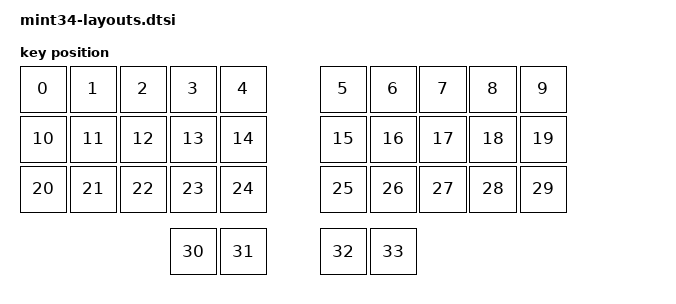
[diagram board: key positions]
// Mint34 Physical Layout
// 34 key split: 5 cols x 3 rows + 2 thumbs per side
// Units are in centimicrons (100 = 1u)
// See https://zmk.dev/docs/development/hardware-integration/physical-layouts

#include <physical_layouts.dtsi>

/ {
    default_layout: default_layout {
        compatible = "zmk,physical-layout";
        display-name = "Default Layout";
        transform = <&default_transform>;
        kscan = <&kscan0>;

        keys  //                     w    h     x     y    rot   rx    ry
            /* Row 0 - Left */
            = <&key_physical_attrs 100  100     0     0      0    0     0>  /* Q */
            , <&key_physical_attrs 100  100   100     0      0    0     0>  /* W */
            , <&key_physical_attrs 100  100   200     0      0    0     0>  /* E */
            , <&key_physical_attrs 100  100   300     0      0    0     0>  /* R */
            , <&key_physical_attrs 100  100   400     0      0    0     0>  /* T */
            /* Row 0 - Right */
            , <&key_physical_attrs 100  100   600     0      0    0     0>  /* Y */
            , <&key_physical_attrs 100  100   700     0      0    0     0>  /* U */
            , <&key_physical_attrs 100  100   800     0      0    0     0>  /* I */
            , <&key_physical_attrs 100  100   900     0      0    0     0>  /* O */
            , <&key_physical_attrs 100  100  1000     0      0    0     0>  /* P */
            /* Row 1 - Left */
            , <&key_physical_attrs 100  100     0   100      0    0     0>  /* A */
            , <&key_physical_attrs 100  100   100   100      0    0     0>  /* S */
            , <&key_physical_attrs 100  100   200   100      0    0     0>  /* D */
            , <&key_physical_attrs 100  100   300   100      0    0     0>  /* F */
            , <&key_physical_attrs 100  100   400   100      0    0     0>  /* G */
            /* Row 1 - Right */
            , <&key_physical_attrs 100  100   600   100      0    0     0>  /* H */
            , <&key_physical_attrs 100  100   700   100      0    0     0>  /* J */
            , <&key_physical_attrs 100  100   800   100      0    0     0>  /* K */
            , <&key_physical_attrs 100  100   900   100      0    0     0>  /* L */
            , <&key_physical_attrs 100  100  1000   100      0    0     0>  /* ; */
            /* Row 2 - Left */
            , <&key_physical_attrs 100  100     0   200      0    0     0>  /* Z */
            , <&key_physical_attrs 100  100   100   200      0    0     0>  /* X */
            , <&key_physical_attrs 100  100   200   200      0    0     0>  /* C */
            , <&key_physical_attrs 100  100   300   200      0    0     0>  /* V */
            , <&key_physical_attrs 100  100   400   200      0    0     0>  /* B */
            /* Row 2 - Right */
            , <&key_physical_attrs 100  100   600   200      0    0     0>  /* N */
            , <&key_physical_attrs 100  100   700   200      0    0     0>  /* M */
            , <&key_physical_attrs 100  100   800   200      0    0     0>  /* , */
            , <&key_physical_attrs 100  100   900   200      0    0     0>  /* . */
            , <&key_physical_attrs 100  100  1000   200      0    0     0>  /* / */
            /* Thumbs - Left */
            , <&key_physical_attrs 100  100   300   325      0    0     0>  /* ENT */
            , <&key_physical_attrs 100  100   400   325      0    0     0>  /* SYM */
            /* Thumbs - Right */
            , <&key_physical_attrs 100  100   600   325      0    0     0>  /* SPC */
            , <&key_physical_attrs 100  100   700   325      0    0     0>  /* BSP */
            ;
    };
};
